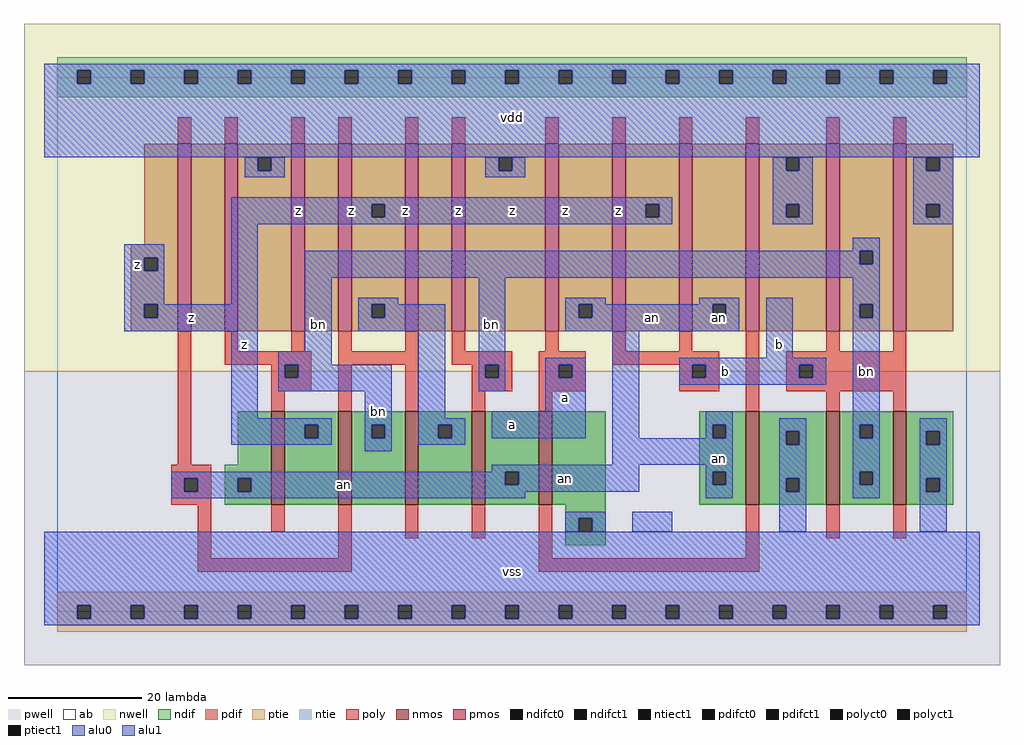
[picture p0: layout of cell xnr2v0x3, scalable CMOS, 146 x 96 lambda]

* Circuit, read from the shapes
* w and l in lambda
.subckt xnr2v0x3 a an b bn vdd vss z
M1 z bn an vss nfet w=14 l=2 m=2
M2 bn an z vss nfet w=14 l=2 m=2
M3 vss a an vss nfet w=14 l=2 m=2
M4 bn b vss vss nfet w=14 l=2 m=2
M5 n1 an z vdd pfet w=28 l=2
M6 vdd bn n1 vdd pfet w=28 l=2
M7 n2 bn vdd vdd pfet w=28 l=2
M8 z an n2 vdd pfet w=28 l=2
M9 n3 an z vdd pfet w=28 l=2
M10 vdd bn n3 vdd pfet w=28 l=2
M11 an a vdd vdd pfet w=28 l=2 m=2
M12 z b an vdd pfet w=28 l=2 m=2
M13 bn b vdd vdd pfet w=28 l=2 m=2
.ends

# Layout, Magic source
magic
tech scmos
<< ab >>
rect 0 0 136 80
<< nwell >>
rect -5 36 141 88
<< pwell >>
rect -5 -8 141 36
<< poly >>
rect 18 70 20 74
rect 25 70 27 74
rect 35 70 37 74
rect 42 70 44 74
rect 52 70 54 74
rect 59 70 61 74
rect 73 70 75 74
rect 83 70 85 74
rect 93 70 95 74
rect 103 70 105 74
rect 115 70 117 74
rect 125 70 127 74
rect 18 22 20 42
rect 25 39 27 42
rect 35 39 37 42
rect 42 39 44 42
rect 52 39 54 42
rect 25 37 38 39
rect 32 35 34 37
rect 36 35 38 37
rect 32 33 38 35
rect 42 37 54 39
rect 59 39 61 42
rect 73 39 75 42
rect 83 39 85 42
rect 93 39 95 42
rect 59 37 68 39
rect 32 30 34 33
rect 42 30 44 37
rect 52 30 54 37
rect 62 35 64 37
rect 66 35 68 37
rect 62 33 68 35
rect 72 37 79 39
rect 83 37 99 39
rect 72 35 75 37
rect 77 35 79 37
rect 72 33 79 35
rect 93 35 95 37
rect 97 35 99 37
rect 93 33 99 35
rect 62 30 64 33
rect 72 30 74 33
rect 103 30 105 42
rect 115 39 117 42
rect 125 39 127 42
rect 109 37 127 39
rect 109 35 111 37
rect 113 35 127 37
rect 109 33 127 35
rect 115 30 117 33
rect 125 30 127 33
rect 17 20 23 22
rect 17 18 19 20
rect 21 18 23 20
rect 17 16 23 18
rect 21 8 23 16
rect 32 12 34 16
rect 42 8 44 16
rect 52 11 54 16
rect 62 11 64 16
rect 21 6 44 8
rect 72 8 74 16
rect 103 8 105 16
rect 115 11 117 16
rect 125 11 127 16
rect 72 6 105 8
<< ndif >>
rect 27 22 32 30
rect 25 20 32 22
rect 25 18 27 20
rect 29 18 32 20
rect 25 16 32 18
rect 34 28 42 30
rect 34 26 37 28
rect 39 26 42 28
rect 34 16 42 26
rect 44 28 52 30
rect 44 26 47 28
rect 49 26 52 28
rect 44 16 52 26
rect 54 28 62 30
rect 54 26 57 28
rect 59 26 62 28
rect 54 16 62 26
rect 64 21 72 30
rect 64 19 67 21
rect 69 19 72 21
rect 64 16 72 19
rect 74 16 82 30
rect 96 28 103 30
rect 96 26 98 28
rect 100 26 103 28
rect 96 21 103 26
rect 96 19 98 21
rect 100 19 103 21
rect 96 16 103 19
rect 105 27 115 30
rect 105 25 109 27
rect 111 25 115 27
rect 105 20 115 25
rect 105 18 109 20
rect 111 18 115 20
rect 105 16 115 18
rect 117 28 125 30
rect 117 26 120 28
rect 122 26 125 28
rect 117 21 125 26
rect 117 19 120 21
rect 122 19 125 21
rect 117 16 125 19
rect 127 27 134 30
rect 127 25 130 27
rect 132 25 134 27
rect 127 20 134 25
rect 127 18 130 20
rect 132 18 134 20
rect 127 16 134 18
rect 76 14 82 16
rect 76 12 78 14
rect 80 12 82 14
rect 76 10 82 12
<< pdif >>
rect 13 55 18 70
rect 11 53 18 55
rect 11 51 13 53
rect 15 51 18 53
rect 11 46 18 51
rect 11 44 13 46
rect 15 44 18 46
rect 11 42 18 44
rect 20 42 25 70
rect 27 68 35 70
rect 27 66 30 68
rect 32 66 35 68
rect 27 42 35 66
rect 37 42 42 70
rect 44 61 52 70
rect 44 59 47 61
rect 49 59 52 61
rect 44 46 52 59
rect 44 44 47 46
rect 49 44 52 46
rect 44 42 52 44
rect 54 42 59 70
rect 61 68 73 70
rect 61 66 66 68
rect 68 66 73 68
rect 61 42 73 66
rect 75 46 83 70
rect 75 44 78 46
rect 80 44 83 46
rect 75 42 83 44
rect 85 61 93 70
rect 85 59 88 61
rect 90 59 93 61
rect 85 42 93 59
rect 95 46 103 70
rect 95 44 98 46
rect 100 44 103 46
rect 95 42 103 44
rect 105 68 115 70
rect 105 66 109 68
rect 111 66 115 68
rect 105 61 115 66
rect 105 59 109 61
rect 111 59 115 61
rect 105 42 115 59
rect 117 54 125 70
rect 117 52 120 54
rect 122 52 125 54
rect 117 46 125 52
rect 117 44 120 46
rect 122 44 125 46
rect 117 42 125 44
rect 127 68 134 70
rect 127 66 130 68
rect 132 66 134 68
rect 127 61 134 66
rect 127 59 130 61
rect 132 59 134 61
rect 127 42 134 59
<< alu1 >>
rect -2 81 138 82
rect -2 79 3 81
rect 5 79 11 81
rect 13 79 19 81
rect 21 79 27 81
rect 29 79 35 81
rect 37 79 43 81
rect 45 79 51 81
rect 53 79 59 81
rect 61 79 67 81
rect 69 79 75 81
rect 77 79 83 81
rect 85 79 91 81
rect 93 79 99 81
rect 101 79 107 81
rect 109 79 115 81
rect 117 79 123 81
rect 125 79 131 81
rect 133 79 138 81
rect -2 68 138 79
rect 26 61 92 62
rect 26 59 47 61
rect 49 59 88 61
rect 90 59 92 61
rect 26 58 92 59
rect 10 53 16 55
rect 10 51 13 53
rect 15 51 16 53
rect 10 46 16 51
rect 26 46 30 58
rect 10 44 13 46
rect 15 44 30 46
rect 10 42 30 44
rect 26 29 30 42
rect 26 28 41 29
rect 26 26 37 28
rect 39 26 41 28
rect 26 25 41 26
rect 73 37 79 38
rect 73 35 75 37
rect 77 35 79 37
rect 73 30 79 35
rect 65 26 79 30
rect 106 38 110 47
rect 93 37 115 38
rect 93 35 95 37
rect 97 35 111 37
rect 113 35 115 37
rect 93 34 115 35
rect -2 1 138 12
rect -2 -1 3 1
rect 5 -1 11 1
rect 13 -1 19 1
rect 21 -1 27 1
rect 29 -1 35 1
rect 37 -1 43 1
rect 45 -1 51 1
rect 53 -1 59 1
rect 61 -1 67 1
rect 69 -1 75 1
rect 77 -1 83 1
rect 85 -1 91 1
rect 93 -1 99 1
rect 101 -1 107 1
rect 109 -1 115 1
rect 117 -1 123 1
rect 125 -1 131 1
rect 133 -1 138 1
rect -2 -2 138 -1
<< ptie >>
rect 0 1 136 3
rect 0 -1 3 1
rect 5 -1 11 1
rect 13 -1 19 1
rect 21 -1 27 1
rect 29 -1 35 1
rect 37 -1 43 1
rect 45 -1 51 1
rect 53 -1 59 1
rect 61 -1 67 1
rect 69 -1 75 1
rect 77 -1 83 1
rect 85 -1 91 1
rect 93 -1 99 1
rect 101 -1 107 1
rect 109 -1 115 1
rect 117 -1 123 1
rect 125 -1 131 1
rect 133 -1 136 1
rect 0 -3 136 -1
<< ntie >>
rect 0 81 136 83
rect 0 79 3 81
rect 5 79 11 81
rect 13 79 19 81
rect 21 79 27 81
rect 29 79 35 81
rect 37 79 43 81
rect 45 79 51 81
rect 53 79 59 81
rect 61 79 67 81
rect 69 79 75 81
rect 77 79 83 81
rect 85 79 91 81
rect 93 79 99 81
rect 101 79 107 81
rect 109 79 115 81
rect 117 79 123 81
rect 125 79 131 81
rect 133 79 136 81
rect 0 77 136 79
<< nmos >>
rect 32 16 34 30
rect 42 16 44 30
rect 52 16 54 30
rect 62 16 64 30
rect 72 16 74 30
rect 103 16 105 30
rect 115 16 117 30
rect 125 16 127 30
<< pmos >>
rect 18 42 20 70
rect 25 42 27 70
rect 35 42 37 70
rect 42 42 44 70
rect 52 42 54 70
rect 59 42 61 70
rect 73 42 75 70
rect 83 42 85 70
rect 93 42 95 70
rect 103 42 105 70
rect 115 42 117 70
rect 125 42 127 70
<< polyct0 >>
rect 34 35 36 37
rect 64 35 66 37
rect 19 18 21 20
<< polyct1 >>
rect 75 35 77 37
rect 95 35 97 37
rect 111 35 113 37
<< ndifct0 >>
rect 27 18 29 20
rect 47 26 49 28
rect 57 26 59 28
rect 67 19 69 21
rect 98 26 100 28
rect 98 19 100 21
rect 109 25 111 27
rect 109 18 111 20
rect 120 26 122 28
rect 120 19 122 21
rect 130 25 132 27
rect 130 18 132 20
rect 78 12 80 14
<< ndifct1 >>
rect 37 26 39 28
<< ntiect1 >>
rect 3 79 5 81
rect 11 79 13 81
rect 19 79 21 81
rect 27 79 29 81
rect 35 79 37 81
rect 43 79 45 81
rect 51 79 53 81
rect 59 79 61 81
rect 67 79 69 81
rect 75 79 77 81
rect 83 79 85 81
rect 91 79 93 81
rect 99 79 101 81
rect 107 79 109 81
rect 115 79 117 81
rect 123 79 125 81
rect 131 79 133 81
<< ptiect1 >>
rect 3 -1 5 1
rect 11 -1 13 1
rect 19 -1 21 1
rect 27 -1 29 1
rect 35 -1 37 1
rect 43 -1 45 1
rect 51 -1 53 1
rect 59 -1 61 1
rect 67 -1 69 1
rect 75 -1 77 1
rect 83 -1 85 1
rect 91 -1 93 1
rect 99 -1 101 1
rect 107 -1 109 1
rect 115 -1 117 1
rect 123 -1 125 1
rect 131 -1 133 1
<< pdifct0 >>
rect 30 66 32 68
rect 47 44 49 46
rect 66 66 68 68
rect 78 44 80 46
rect 98 44 100 46
rect 109 66 111 68
rect 109 59 111 61
rect 120 52 122 54
rect 120 44 122 46
rect 130 66 132 68
rect 130 59 132 61
<< pdifct1 >>
rect 13 51 15 53
rect 13 44 15 46
rect 47 59 49 61
rect 88 59 90 61
<< alu0 >>
rect 28 66 30 68
rect 32 66 34 68
rect 28 65 34 66
rect 64 66 66 68
rect 68 66 70 68
rect 64 65 70 66
rect 107 66 109 68
rect 111 66 113 68
rect 107 61 113 66
rect 107 59 109 61
rect 111 59 113 61
rect 107 58 113 59
rect 128 66 130 68
rect 132 66 134 68
rect 128 61 134 66
rect 128 59 130 61
rect 132 59 134 61
rect 128 58 134 59
rect 119 54 123 56
rect 37 52 120 54
rect 122 52 123 54
rect 37 50 123 52
rect 37 39 41 50
rect 45 46 51 47
rect 45 44 47 46
rect 49 44 58 46
rect 45 42 58 44
rect 33 37 41 39
rect 33 35 34 37
rect 36 35 50 37
rect 33 33 50 35
rect 46 28 50 33
rect 46 26 47 28
rect 49 26 50 28
rect 46 24 50 26
rect 54 29 58 42
rect 63 37 67 50
rect 76 46 82 47
rect 96 46 102 47
rect 76 44 78 46
rect 80 44 98 46
rect 100 44 102 46
rect 76 42 102 44
rect 63 35 64 37
rect 66 35 67 37
rect 63 33 67 35
rect 54 28 61 29
rect 54 26 57 28
rect 59 26 61 28
rect 83 26 87 42
rect 119 46 123 50
rect 119 44 120 46
rect 122 44 123 46
rect 97 28 101 30
rect 97 26 98 28
rect 100 26 101 28
rect 54 25 61 26
rect 83 22 101 26
rect 65 21 87 22
rect 17 20 67 21
rect 17 18 19 20
rect 21 18 27 20
rect 29 19 67 20
rect 69 19 87 21
rect 29 18 87 19
rect 97 21 101 22
rect 97 19 98 21
rect 100 19 101 21
rect 17 17 70 18
rect 97 17 101 19
rect 108 27 112 29
rect 108 25 109 27
rect 111 25 112 27
rect 108 20 112 25
rect 108 18 109 20
rect 111 18 112 20
rect 76 14 82 15
rect 76 12 78 14
rect 80 12 82 14
rect 86 12 92 15
rect 108 12 112 18
rect 119 28 123 44
rect 119 26 120 28
rect 122 26 123 28
rect 119 21 123 26
rect 119 19 120 21
rect 122 19 123 21
rect 119 17 123 19
rect 129 27 133 29
rect 129 25 130 27
rect 132 25 133 27
rect 129 20 133 25
rect 129 18 130 20
rect 132 18 133 20
rect 129 12 133 18
<< labels >>
rlabel alu0 48 30 48 30 6 bn
rlabel alu0 39 43 39 43 6 bn
rlabel alu0 43 19 43 19 6 an
rlabel alu0 65 43 65 43 6 bn
rlabel alu0 76 20 76 20 6 an
rlabel alu0 99 23 99 23 6 an
rlabel alu0 89 44 89 44 6 an
rlabel alu0 99 44 99 44 6 an
rlabel alu0 121 36 121 36 6 bn
rlabel alu1 28 40 28 40 6 z
rlabel alu1 20 44 20 44 6 z
rlabel alu1 12 52 12 52 6 z
rlabel alu1 44 60 44 60 6 z
rlabel alu1 52 60 52 60 6 z
rlabel alu1 60 60 60 60 6 z
rlabel alu1 36 60 36 60 6 z
rlabel alu1 68 6 68 6 6 vss
rlabel alu1 68 28 68 28 6 a
rlabel alu1 100 36 100 36 6 b
rlabel alu1 76 32 76 32 6 a
rlabel alu1 76 60 76 60 6 z
rlabel alu1 84 60 84 60 6 z
rlabel alu1 68 60 68 60 6 z
rlabel alu1 68 74 68 74 6 vdd
rlabel alu1 108 40 108 40 6 b
<< end >>
